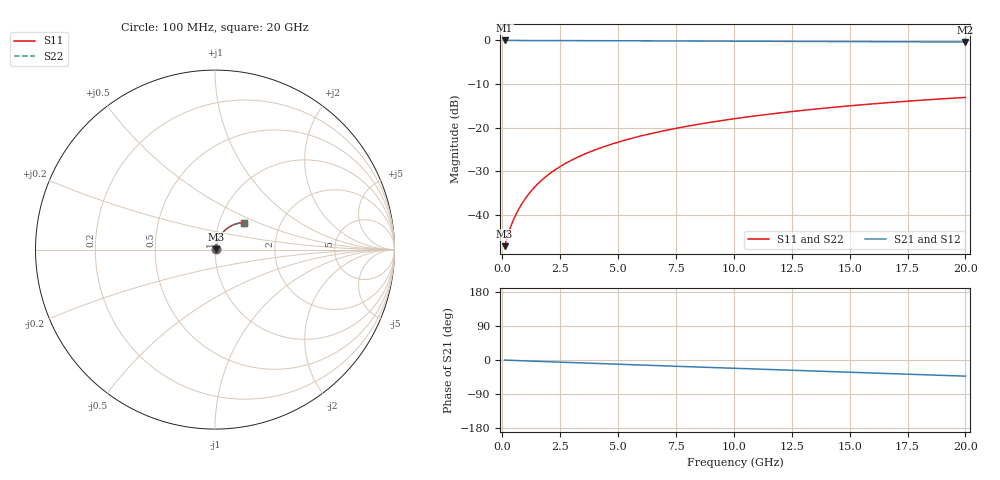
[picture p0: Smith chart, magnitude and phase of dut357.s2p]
! Touchstone file exported from HFSS 2026.1.0
!  File:  C:/ffzhzh/LocalFiles/Ansys_Project_Files/temp_train_BSMRDL_357_1783011536_53980.aedt
!  Generated:  01:00:25 AM Jul  3, 2026
!  Design:  BSMRDL
!  Project:  temp_train_BSMRDL_357_1783011536_53980
! Variables:
!  h_bsmrdl = 5.19um
!  h_ox = 20um
!  h_rdl = 5um
!  h_sub = 80um
!  h_tmrdl = 5um
!  h_tsv = 80um
!  h_via = 3um
!  l_bsmrdl = 742um
!  l_sub = 1142um
!  l_tmrdl = 200um
!  m_sub = 200um
!  pitch = 22.38um
!  r_tsv = 6um
!  s_tmrdl = 10um
!  w_bsmrdl = 12.9um
!  w_sub = 500um
!  w_tmrdl = 12um
!  x_tsv_center1 = 206um
!  x_tsv_center2 = 960.9um
!  x_tsv_center3 = 1172.9um
!  x_tsv_center4 = 1927.8um
!  x_tsv_center5 = 2139.8um
!  x_tsv_center6 = 2894.7um
# GHz S MA R 50.000000
! Terminal data exported
! Port[1] = BSM_RDL1_1_T1
! Port[2] = BSM_RDL1_1_T2
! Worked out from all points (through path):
!   200 points, 100 MHz to 20 GHz, reference 50 ohm
!   highest |S21| = -0.03 dB at 100 MHz (marker M1); lowest = -0.4 dB at 20 GHz (marker M2)
!   group delay of S21, straight-line fit = 5.89 ps
!   lowest |S11| = -47.2 dB at 100 MHz (marker M3), VSWR 1.01, Z = 50.4 + j0.173 ohm
!   |S11| at or under -10 dB: start of sweep to end of sweep
!   |S22| runs from -47.2 to -13.1 dB; largest |S21 - S12| = 3.8e-15
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0.1  0.004376 23.1  0.996 -0.2  0.996 -0.2  0.004376 23.1
! Gamma 0 0 0 0
! Port Impedance 50 0 50 0
0.3  0.006559 46.6  0.9955 -0.7  0.9955 -0.7  0.006559 46.6
0.4  0.007761 52.6  0.9954 -0.9  0.9954 -0.9  0.007761 52.6
0.6  0.01024 60.3  0.9951 -1.4  0.9951 -1.4  0.01024 60.3
0.7  0.01151 63.0  0.995 -1.6  0.995 -1.6  0.01151 63.0
0.9  0.01412 66.8  0.9948 -2.1  0.9948 -2.1  0.01412 66.8
1.1  0.01679 69.3  0.9946 -2.5  0.9946 -2.5  0.01679 69.3
1.3  0.01949 71.0  0.9944 -3.0  0.9944 -3.0  0.01949 71.0
1.7  0.02493 72.9  0.994 -3.9  0.994 -3.9  0.02493 72.9
2.2  0.03173 73.7  0.9933 -5.0  0.9933 -5.0  0.03173 73.7
2.8  0.03979 73.7  0.9924 -6.3  0.9924 -6.3  0.03979 73.7
3.5  0.04901 73.1  0.9911 -7.9  0.9911 -7.9  0.04901 73.1
4.2  0.05802 72.1  0.9898 -9.4  0.9898 -9.4  0.05802 72.1
5  0.06807 70.8  0.9882 -11.2  0.9882 -11.2  0.06807 70.8
5.9  0.07908 69.2  0.9864 -13.1  0.9864 -13.1  0.07908 69.3
6.8  0.08981 67.6  0.9845 -15.1  0.9845 -15.1  0.08982 67.6
8.3  0.1072 64.9  0.9814 -18.3  0.9814 -18.3  0.1072 64.9
10.1  0.1272 61.5  0.9776 -22.1  0.9776 -22.1  0.1272 61.5
11.7  0.1443 58.5  0.9742 -25.4  0.9742 -25.4  0.1443 58.5
13.4  0.1617 55.3  0.9706 -29.0  0.9706 -29.0  0.1618 55.3
16.7  0.1934 49.0  0.9633 -35.8  0.9633 -35.8  0.1934 49.0
20  0.2218 42.7  0.9561 -42.6  0.9561 -42.6  0.2218 42.8
